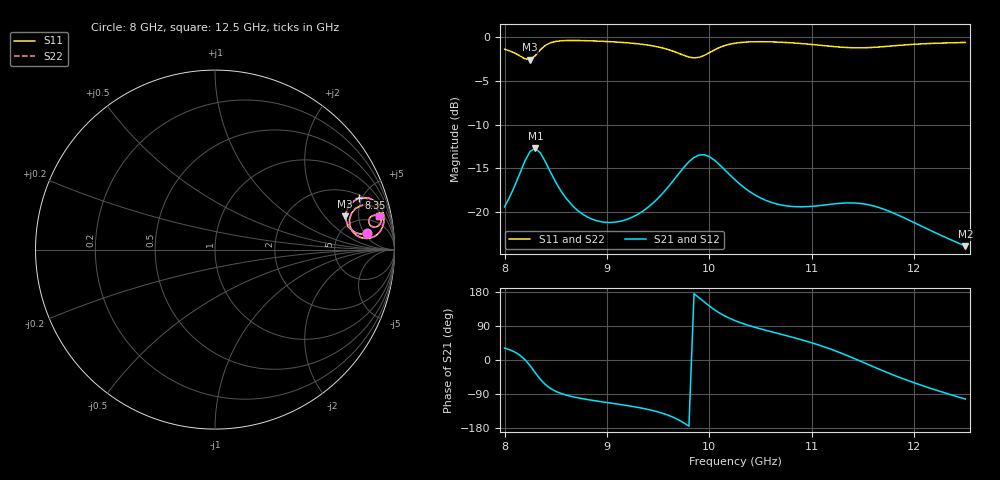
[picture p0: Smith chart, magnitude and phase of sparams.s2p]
! NobuRF pozar-3.3-wr90-long: ports 1 "p1", 2 "p2"; 9100 + 9100 steps
# GHz S RI R 50
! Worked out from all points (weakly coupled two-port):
!   91 points, 8 GHz to 12.5 GHz, reference 50 ohm
!   highest |S21| = -12.71 dB at 8.3 GHz (marker M1); lowest = -23.9 dB at 12.5 GHz (marker M2)
!   lowest |S11| = -2.5 dB at 8.25 GHz (marker M3), VSWR 6.89, Z = 200 + j167 ohm
!   |S11| at or under -10 dB: nowhere
!   |S22| runs from -2.5 to -0.4 dB; largest |S21 - S12| = 4.2e-09
!   S11 on the Smith chart (normalised r, x): 8 GHz: 9, +6; 8.35 GHz: 2.27, +4.69; 12.5 GHz: 3.07, +9.00
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8  0.8495 0.0908  0.0916 0.0558  0.0916 0.0558  0.8495 0.0908
8.15  0.7767 0.0975  0.1632 0.0364  0.1632 0.0364  0.7766 0.0975
8.25  0.7233 0.1845  0.215 -0.0591  0.215 -0.0591  0.7233 0.1845
8.3  0.7451 0.2499  0.1923 -0.1287  0.1923 -0.1287  0.7451 0.2499
8.35  0.7999 0.2872  0.1364 -0.1702  0.1364 -0.1702  0.7999 0.2872
8.5  0.9134 0.2511  0.0188 -0.147  0.0188 -0.147  0.9134 0.2511
8.6  0.9338 0.2153  -0.00524 -0.1201  -0.00524 -0.1201  0.9338 0.2153
8.75  0.9413 0.1776  -0.0198 -0.0965  -0.0198 -0.0965  0.9413 0.1776
8.9  0.9398 0.1506  -0.0279 -0.0848  -0.0279 -0.0848  0.9398 0.1506
9.1  0.9311 0.1211  -0.0389 -0.0789  -0.0389 -0.0789  0.9311 0.1211
9.3  0.9135 0.0937  -0.0558 -0.0796  -0.0558 -0.0796  0.9135 0.0937
9.5  0.878 0.0689  -0.0883 -0.0819  -0.0883 -0.0819  0.878 0.0689
9.7  0.8072 0.0688  -0.1539 -0.0618  -0.1539 -0.0618  0.8072 0.0688
9.9  0.7491 0.1699  -0.2043 0.0579  -0.2043 0.0579  0.7491 0.1699
10.05  0.8118 0.2449  -0.134 0.146  -0.134 0.146  0.8118 0.2449
10.25  0.8958 0.231  -0.0368 0.1487  -0.0368 0.1487  0.8958 0.231
10.6  0.9269 0.1673  0.0297 0.1101  0.0297 0.1101  0.9269 0.1673
11  0.9011 0.1278  0.0759 0.0769  0.0759 0.0769  0.9011 0.1278
11.45  0.8574 0.1507  0.1125 -0.000165  0.1125 -0.000165  0.8575 0.1507
11.75  0.8701 0.184  0.0836 -0.0576  0.0836 -0.0576  0.8701 0.184
12.05  0.8957 0.1907  0.036 -0.0763  0.036 -0.0763  0.8957 0.1906
12.5  0.9164 0.1845  -0.0145 -0.0622  -0.0145 -0.0622  0.9164 0.1845
